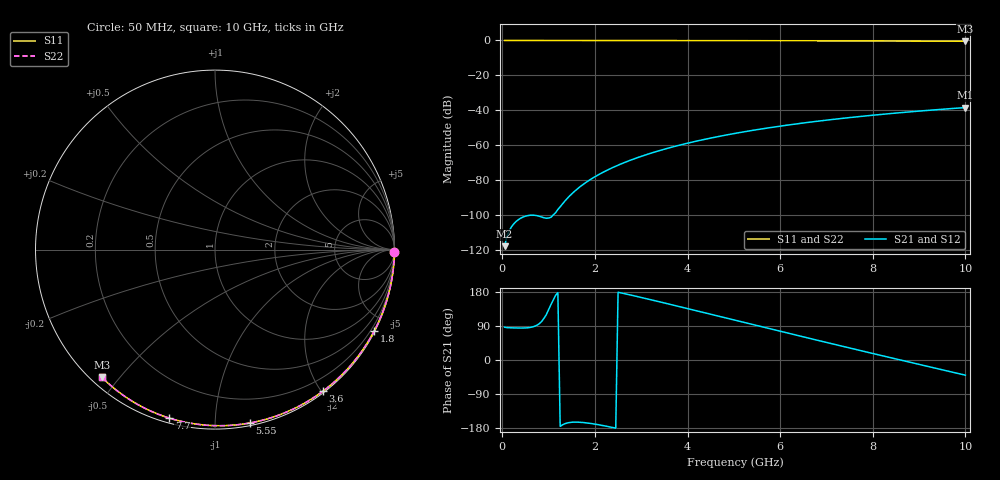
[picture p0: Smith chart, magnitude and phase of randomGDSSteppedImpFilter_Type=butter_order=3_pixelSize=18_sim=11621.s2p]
! freq	dB(S11)	phase(S11)	dB(S12)	phase(S12)
!  dB(S21)	phase(S21)	dB(S22)	phase(S22)
!S-par simulation data
#  GHz  S  DB  R 50
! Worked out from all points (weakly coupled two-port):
!   200 points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, 50 MHz to 10 GHz, reference 50 ohm
!   highest |S21| = -38.44 dB at 10 GHz (marker M1); lowest = -117.8 dB at 50 MHz (marker M2)
!   lowest |S11| = -0.4 dB at 10 GHz (marker M3), VSWR 39.12, Z = 1.54 - j22.5 ohm
!   |S11| at or under -10 dB: nowhere
!   |S22| runs from -0.4 to 0.0 dB; largest |S21 - S12| = 0
!   S11 on the Smith chart (normalised r, x): 50 MHz: open; 1.8 GHz: 0.04, -4.17; 3.6 GHz: 0.02, -2.02; 5.55 GHz: 0.02, -1.22; 7.7 GHz: 0.02, -0.77; 10 GHz: 0.03, -0.45
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0.05  -0.00 -0.8  -117.81 86.5  -117.81 86.5  -0.00 -0.8
0.9  -0.02 -13.6  -101.53 110.0  -101.53 110.0  -0.02 -13.6
1.75  -0.03 -26.2  -82.37 -165.0  -82.37 -165.0  -0.03 -26.2
1.8  -0.03 -26.9  -81.42 -165.7  -81.42 -165.7  -0.03 -26.9
1.85  -0.04 -27.7  -80.53 -166.4  -80.53 -166.4  -0.04 -27.7
1.9  -0.04 -28.4  -79.67 -167.3  -79.67 -167.3  -0.04 -28.4
2.05  -0.04 -30.6  -77.29 -170.2  -77.29 -170.2  -0.04 -30.6
2.25  -0.04 -33.5  -74.48 -174.8  -74.48 -174.8  -0.04 -33.5
2.45  -0.05 -36.4  -72.00 -179.9  -72.00 -179.9  -0.05 -36.4
2.65  -0.05 -39.3  -69.77 174.8  -69.77 174.8  -0.05 -39.3
3  -0.06 -44.3  -66.36 165.0  -66.36 165.0  -0.06 -44.3
3.4  -0.07 -49.9  -63.02 153.4  -63.02 153.4  -0.07 -49.9
3.6  -0.07 -52.7  -61.53 147.6  -61.53 147.6  -0.07 -52.7
4.3  -0.09 -62.3  -57.02 126.7  -57.02 126.7  -0.09 -62.3
5.05  -0.11 -72.2  -53.10 104.3  -53.10 104.3  -0.11 -72.2
5.55  -0.13 -78.7  -50.87 89.3  -50.87 89.3  -0.13 -78.7
6.1  -0.15 -85.7  -48.69 72.9  -48.69 72.9  -0.15 -85.7
6.7  -0.18 -93.1  -46.59 55.1  -46.59 55.1  -0.18 -93.1
7.7  -0.24 -105.1  -43.61 25.9  -43.61 25.9  -0.24 -105.1
8.35  -0.29 -112.7  -41.94 7.1  -41.94 7.1  -0.29 -112.7
9.15  -0.36 -121.9  -40.12 -15.9  -40.12 -15.9  -0.36 -121.9
10  -0.44 -131.5  -38.44 -40.1  -38.44 -40.1  -0.44 -131.5
